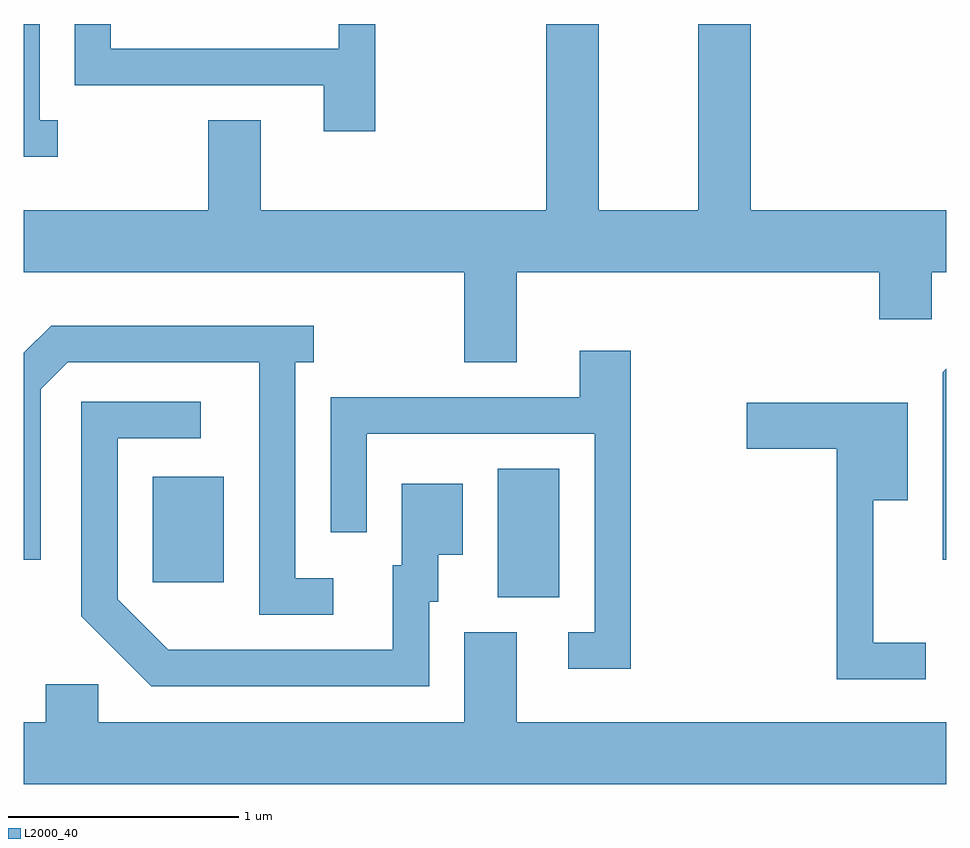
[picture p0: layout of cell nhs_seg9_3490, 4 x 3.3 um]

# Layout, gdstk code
import gdstk
lib = gdstk.Library(unit=1e-6, precision=1e-09)
def R(c, l, rs):  # rectangles x0, y0, x1, y1
    for r in rs: c.add(gdstk.rectangle(r[:2], r[2:], *l))
def P(c, l, *ps):  # polygons
    for p in ps: c.add(gdstk.Polygon(p, *l))
L2000_40 = (2000, 40)

nhs_seg9_3490 = lib.new_cell('nhs_seg9_3490')
R(nhs_seg9_3490, L2000_40, [(289.666,2005.946,289.934,2006.504), (288.171,2006.011,288.479,2006.469)])
P(nhs_seg9_3490, L2000_40, [(289.749,2007.356),(291.321,2007.356),(291.321,2007.151),(291.549,2007.151),(291.549,2007.356),(291.611,2007.356),(291.611,2007.624),(290.764,2007.624),(290.764,2008.432),(290.536,2008.432),(290.536,2007.624),(290.104,2007.624),(290.104,2008.432),(289.876,2008.432),(289.876,2007.624),(288.639,2007.624),(288.639,2008.014),(288.411,2008.014),(288.411,2007.624),(287.611,2007.624),(287.611,2007.356),(289.521,2007.356),(289.521,2006.966),(289.749,2006.966)],
  [(287.758,2008.014),(287.679,2008.014),(287.679,2008.432),(287.611,2008.432),(287.611,2007.856),(287.758,2007.856)],
  [(289.134,2008.432),(288.976,2008.432),(288.976,2008.324),(287.989,2008.324),(287.989,2008.432),(287.831,2008.432),(287.831,2008.166),(288.911,2008.166),(288.911,2007.966),(289.134,2007.966)],
  [(288.953,2006.029),(288.789,2006.029),(288.789,2006.966),(288.868,2006.966),(288.868,2007.124),(287.729,2007.124),(287.611,2007.007),(287.611,2006.108),(287.684,2006.108),(287.684,2006.849),(287.802,2006.966),(288.631,2006.966),(288.631,2005.871),(288.953,2005.871)],
  [(290.244,2007.014),(290.021,2007.014),(290.021,2006.814),(288.941,2006.814),(288.941,2006.228),(289.099,2006.228),(289.099,2006.656),(290.086,2006.656),(290.086,2005.794),(289.973,2005.794),(289.973,2005.636),(290.244,2005.636)],
  [(291.611,2006.937),(291.596,2006.922),(291.596,2006.108),(291.611,2006.108)],
  [(289.369,2005.926),(289.409,2005.926),(289.409,2006.131),(289.514,2006.131),(289.514,2006.439),(289.251,2006.439),(289.251,2006.084),(289.211,2006.084),(289.211,2005.719),(288.237,2005.719),(288.019,2005.937),(288.019,2006.636),(288.378,2006.636),(288.378,2006.794),(287.861,2006.794),(287.861,2005.864),(288.164,2005.561),(289.369,2005.561)],
  [(291.523,2005.749),(291.294,2005.749),(291.294,2006.366),(291.444,2006.366),(291.444,2006.789),(290.746,2006.789),(290.746,2006.591),(291.136,2006.591),(291.136,2005.591),(291.523,2005.591)],
  [(291.611,2005.404),(289.749,2005.404),(289.749,2005.794),(289.521,2005.794),(289.521,2005.404),(287.934,2005.404),(287.934,2005.569),(287.706,2005.569),(287.706,2005.404),(287.611,2005.404),(287.611,2005.136),(291.611,2005.136)])

lib.write_gds('nhs_seg9_3490.gds')
